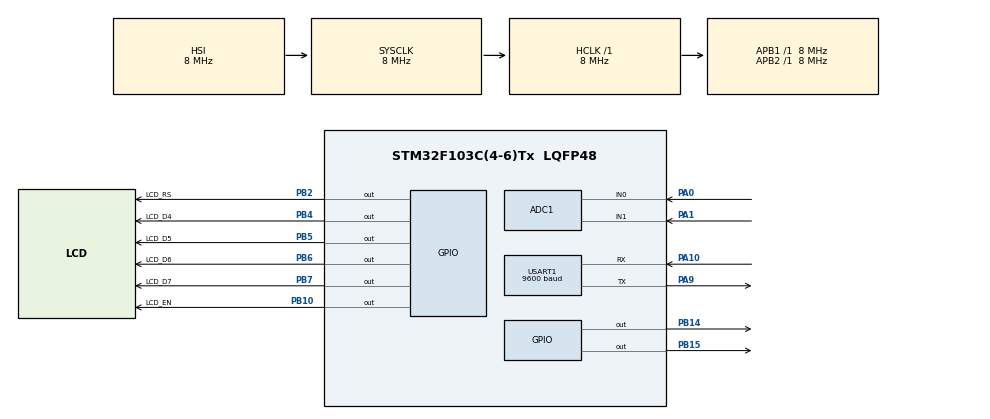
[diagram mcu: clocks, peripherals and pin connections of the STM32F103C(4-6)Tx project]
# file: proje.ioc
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ADC1.Channel-7\#ChannelRegularConversion=ADC_CHANNEL_0
ADC1.Channel-8\#ChannelRegularConversion=ADC_CHANNEL_1
ADC1.ContinuousConvMode=ENABLE
ADC1.NbrOfConversion=2
ADC1.NbrOfConversionFlag=1
ADC1.Rank-7\#ChannelRegularConversion=1
ADC1.Rank-8\#ChannelRegularConversion=2
ADC1.SamplingTime-7\#ChannelRegularConversion=ADC_SAMPLETIME_55CYCLES_5
ADC1.SamplingTime-8\#ChannelRegularConversion=ADC_SAMPLETIME_55CYCLES_5
ADC1.master=1
Dma.ADC1.0.Direction=DMA_PERIPH_TO_MEMORY
Dma.ADC1.0.Instance=DMA1_Channel1
Dma.ADC1.0.MemDataAlignment=DMA_MDATAALIGN_WORD
Dma.ADC1.0.MemInc=DMA_MINC_ENABLE
Dma.ADC1.0.Mode=DMA_CIRCULAR
Dma.ADC1.0.PeriphDataAlignment=DMA_PDATAALIGN_WORD
Dma.ADC1.0.PeriphInc=DMA_PINC_DISABLE
Dma.ADC1.0.Priority=DMA_PRIORITY_LOW
Dma.Request0=ADC1
Mcu.Family=STM32F1
Mcu.Name=STM32F103C(4-6)Tx
Mcu.Package=LQFP48
NVIC.DMA1_Channel1_IRQn=true\:0\:0\:false\:false\:true\:false\:true\:true
NVIC.PriorityGroup=NVIC_PRIORITYGROUP_4
NVIC.TIM2_IRQn=true\:0\:0\:false\:false\:true\:true\:true\:true
NVIC.USART1_IRQn=true\:0\:0\:true\:false\:true\:true\:true\:true
PA0-WKUP.Signal=ADCx_IN0
PA1.Signal=ADCx_IN1
PA10.Mode=Asynchronous
PA10.Signal=USART1_RX
PA9.Mode=Asynchronous
PA9.Signal=USART1_TX
PB10.GPIO_Label=LCD_EN
PB10.Signal=GPIO_Output
PB14.Signal=GPIO_Output
PB15.Signal=GPIO_Output
PB2.GPIO_Label=LCD_RS
PB2.Signal=GPIO_Output
PB4.GPIO_Label=LCD_D4
PB4.Signal=GPIO_Output
PB5.GPIO_Label=LCD_D5
PB5.Signal=GPIO_Output
PB6.GPIO_Label=LCD_D6
PB6.Signal=GPIO_Output
PB7.GPIO_Label=LCD_D7
PB7.Signal=GPIO_Output
PD0-OSC_IN.Mode=HSE-External-Oscillator
PD0-OSC_IN.Signal=RCC_OSC_IN
PD1-OSC_OUT.Mode=HSE-External-Oscillator
PD1-OSC_OUT.Signal=RCC_OSC_OUT
ProjectManager.HeapSize=0x200
ProjectManager.StackSize=0x400
ProjectManager.TargetToolchain=MDK-ARM V5.32
RCC.AHBFreq_Value=8000000
RCC.APB1Freq_Value=8000000
RCC.APB1TimCLKDivider=1
RCC.APB1TimFreq_Value=8000000
RCC.APB2Freq_Value=8000000
RCC.APB2TimFreq_Value=8000000
RCC.HCLKFreq_Value=8000000
RCC.SYSCLKFreq_VALUE=8000000
RCC.USBFreq_Value=8000000
SH.ADCx_IN0.0=ADC1_IN0,IN0
SH.ADCx_IN1.0=ADC1_IN1,IN1
TIM2.Period=49999
TIM2.Prescaler=15
USART1.BaudRate=9600
USART1.VirtualMode=VM_ASYNC
VP_SYS_VS_ND.Mode=No_Debug
VP_TIM2_VS_ClockSourceINT.Mode=Internal
board=custom

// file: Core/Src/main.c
/* USER CODE BEGIN Header */
/**
  ******************************************************************************
  * @file           : main.c
  * @brief          : Main program body
  ******************************************************************************
  * @attention
  *
  * Copyright (c) 2024 STMicroelectronics.
  * All rights reserved.
  *
  * This software is licensed under terms that can be found in the LICENSE file
  * in the root directory of this software component.
  * If no LICENSE file comes with this software, it is provided AS-IS.
  *
  ******************************************************************************
  */
/* USER CODE END Header */
#include "main.h"

/* USER CODE BEGIN Includes */
#include "stdio.h"
#include "stdlib.h"
#include "LCD.h"
/* USER CODE END Includes */

ADC_HandleTypeDef hadc1;
DMA_HandleTypeDef hdma_adc1;

TIM_HandleTypeDef htim2;

UART_HandleTypeDef huart1;

/* USER CODE BEGIN PV */

float soilHumidity = 50;
float waterLevel = 50;

uint32_t adcBuffer[2];

uint32_t adcWaterValue;
uint32_t adcMoistureValue;

uint8_t uartMessage[1] = "m";
char lcdString[32] = "";

uint16_t moisture_pin;

/* USER CODE END PV */

void SystemClock_Config(void);
static void MX_GPIO_Init(void);
static void MX_DMA_Init(void);
static void MX_USART1_UART_Init(void);
static void MX_ADC1_Init(void);
static void MX_TIM2_Init(void);

int main(void)
{

  /* MCU Configuration--------------------------------------------------------*/

  /* Reset of all peripherals, Initializes the Flash interface and the Systick. */
  HAL_Init();

  /* Configure the system clock */
  SystemClock_Config();

  /* Initialize all configured peripherals */
  MX_GPIO_Init();
  MX_DMA_Init();
  MX_USART1_UART_Init();
  MX_ADC1_Init();
  MX_TIM2_Init();
  /* USER CODE BEGIN 2 */

	lcd_init(_LCD_4BIT, _LCD_FONT_5x8, _LCD_2LINE);

	lcd_print(1, 1, " ...");
	HAL_Delay(1000);
	lcd_clear();

	HAL_TIM_Base_Start_IT(&htim2);
	HAL_UART_Init(&huart1);
	HAL_UART_Receive_IT(&huart1, uartMessage, sizeof(uartMessage));
	HAL_ADC_Start_DMA(&hadc1, adcBuffer, 2);

  /* USER CODE END 2 */

  /* Infinite loop */
  while (1)
  {

  }
}

void SystemClock_Config(void)
{
  RCC_OscInitTypeDef RCC_OscInitStruct = {0};
  RCC_ClkInitTypeDef RCC_ClkInitStruct = {0};
  RCC_PeriphCLKInitTypeDef PeriphClkInit = {0};

  /** Initializes the RCC Oscillators according to the specified parameters
  * in the RCC_OscInitTypeDef structure.
  */
  RCC_OscInitStruct.OscillatorType = RCC_OSCILLATORTYPE_HSI;
  RCC_OscInitStruct.HSIState = RCC_HSI_ON;
  RCC_OscInitStruct.HSICalibrationValue = RCC_HSICALIBRATION_DEFAULT;
  RCC_OscInitStruct.PLL.PLLState = RCC_PLL_NONE;
  if (HAL_RCC_OscConfig(&RCC_OscInitStruct) != HAL_OK)
  {
    Error_Handler();
  }

  /** Initializes the CPU, AHB and APB buses clocks
  */
  RCC_ClkInitStruct.ClockType = RCC_CLOCKTYPE_HCLK|RCC_CLOCKTYPE_SYSCLK
                              |RCC_CLOCKTYPE_PCLK1|RCC_CLOCKTYPE_PCLK2;
  RCC_ClkInitStruct.SYSCLKSource = RCC_SYSCLKSOURCE_HSI;
  RCC_ClkInitStruct.AHBCLKDivider = RCC_SYSCLK_DIV1;
  RCC_ClkInitStruct.APB1CLKDivider = RCC_HCLK_DIV1;
  RCC_ClkInitStruct.APB2CLKDivider = RCC_HCLK_DIV1;

  if (HAL_RCC_ClockConfig(&RCC_ClkInitStruct, FLASH_LATENCY_0) != HAL_OK)
  {
    Error_Handler();
  }
  PeriphClkInit.PeriphClockSelection = RCC_PERIPHCLK_ADC;
  PeriphClkInit.AdcClockSelection = RCC_ADCPCLK2_DIV2;
  if (HAL_RCCEx_PeriphCLKConfig(&PeriphClkInit) != HAL_OK)
  {
    Error_Handler();
  }
}

static void MX_ADC1_Init(void)
{

  ADC_ChannelConfTypeDef sConfig = {0};

  /** Common config
  */
  hadc1.Instance = ADC1;
  hadc1.Init.ScanConvMode = ADC_SCAN_ENABLE;
  hadc1.Init.ContinuousConvMode = ENABLE;
  hadc1.Init.DiscontinuousConvMode = DISABLE;
  hadc1.Init.ExternalTrigConv = ADC_SOFTWARE_START;
  hadc1.Init.DataAlign = ADC_DATAALIGN_RIGHT;
  hadc1.Init.NbrOfConversion = 2;
  if (HAL_ADC_Init(&hadc1) != HAL_OK)
  {
    Error_Handler();
  }

  /** Configure Regular Channel
  */
  sConfig.Channel = ADC_CHANNEL_0;
  sConfig.Rank = ADC_REGULAR_RANK_1;
  sConfig.SamplingTime = ADC_SAMPLETIME_55CYCLES_5;
  if (HAL_ADC_ConfigChannel(&hadc1, &sConfig) != HAL_OK)
  {
    Error_Handler();
  }

  /** Configure Regular Channel
  */
  sConfig.Channel = ADC_CHANNEL_1;
  sConfig.Rank = ADC_REGULAR_RANK_2;
  if (HAL_ADC_ConfigChannel(&hadc1, &sConfig) != HAL_OK)
  {
    Error_Handler();
  }

}

static void MX_TIM2_Init(void)
{

  TIM_ClockConfigTypeDef sClockSourceConfig = {0};
  TIM_MasterConfigTypeDef sMasterConfig = {0};

  htim2.Instance = TIM2;
  htim2.Init.Prescaler = 15;
  htim2.Init.CounterMode = TIM_COUNTERMODE_UP;
  htim2.Init.Period = 49999;
  htim2.Init.ClockDivision = TIM_CLOCKDIVISION_DIV1;
  htim2.Init.AutoReloadPreload = TIM_AUTORELOAD_PRELOAD_DISABLE;
  if (HAL_TIM_Base_Init(&htim2) != HAL_OK)
  {
    Error_Handler();
  }
  sClockSourceConfig.ClockSource = TIM_CLOCKSOURCE_INTERNAL;
  if (HAL_TIM_ConfigClockSource(&htim2, &sClockSourceConfig) != HAL_OK)
  {
    Error_Handler();
  }
  sMasterConfig.MasterOutputTrigger = TIM_TRGO_RESET;
  sMasterConfig.MasterSlaveMode = TIM_MASTERSLAVEMODE_DISABLE;
  if (HAL_TIMEx_MasterConfigSynchronization(&htim2, &sMasterConfig) != HAL_OK)
  {
    Error_Handler();
  }

}

static void MX_USART1_UART_Init(void)
{

  huart1.Instance = USART1;
  huart1.Init.BaudRate = 9600;
  huart1.Init.WordLength = UART_WORDLENGTH_8B;
  huart1.Init.StopBits = UART_STOPBITS_1;
  huart1.Init.Parity = UART_PARITY_NONE;
  huart1.Init.Mode = UART_MODE_TX_RX;
  huart1.Init.HwFlowCtl = UART_HWCONTROL_NONE;
  huart1.Init.OverSampling = UART_OVERSAMPLING_16;
  if (HAL_UART_Init(&huart1) != HAL_OK)
  {
    Error_Handler();
  }

}

static void MX_DMA_Init(void)
{

  /* DMA controller clock enable */
  __HAL_RCC_DMA1_CLK_ENABLE();

  /* DMA interrupt init */
  /* DMA1_Channel1_IRQn interrupt configuration */
  HAL_NVIC_SetPriority(DMA1_Channel1_IRQn, 0, 0);
  HAL_NVIC_EnableIRQ(DMA1_Channel1_IRQn);

}

static void MX_GPIO_Init(void)
{
  GPIO_InitTypeDef GPIO_InitStruct = {0};

  /* GPIO Ports Clock Enable */
  __HAL_RCC_GPIOD_CLK_ENABLE();
  __HAL_RCC_GPIOA_CLK_ENABLE();
  __HAL_RCC_GPIOB_CLK_ENABLE();

  /*Configure GPIO pin Output Level */
  HAL_GPIO_WritePin(GPIOB, LCD_RS_Pin|LCD_EN_Pin|GPIO_PIN_14|GPIO_PIN_15
                          |LCD_D4_Pin|LCD_D5_Pin|LCD_D6_Pin|LCD_D7_Pin, GPIO_PIN_RESET);

  /*Configure GPIO pins : LCD_RS_Pin LCD_EN_Pin PB14 PB15
                           LCD_D4_Pin LCD_D5_Pin LCD_D6_Pin LCD_D7_Pin */
  GPIO_InitStruct.Pin = LCD_RS_Pin|LCD_EN_Pin|GPIO_PIN_14|GPIO_PIN_15
                          |LCD_D4_Pin|LCD_D5_Pin|LCD_D6_Pin|LCD_D7_Pin;
  GPIO_InitStruct.Mode = GPIO_MODE_OUTPUT_PP;
  GPIO_InitStruct.Pull = GPIO_NOPULL;
  GPIO_InitStruct.Speed = GPIO_SPEED_FREQ_LOW;
  HAL_GPIO_Init(GPIOB, &GPIO_InitStruct);

}

/* USER CODE BEGIN 4 */

void lcd_empty() {
		lcd_print(1,1, "                       ");
		lcd_print(2,1, "                       ");

}

void printToTheLCD() {

		switch(uartMessage[0]) {
			case 'm': {
					lcd_empty();
					sprintf(lcdString, " %.2f", soilHumidity);//int i string yapiyor
					lcd_print(1,1, " Moisture(%) ");
					lcd_print(2, 1, lcdString);
					break;

			}

			case 'w': {
				lcd_empty();
				sprintf(lcdString, " %.2f", waterLevel);
				lcd_print(1,1, " Water Tank(%): ");
				lcd_print(2,1, lcdString);
				break;

			}

		}

}

void checkMoisture() {

			if (soilHumidity > 10 && soilHumidity < 50) {
			HAL_GPIO_WritePin(GPIOB, GPIO_PIN_14, GPIO_PIN_RESET);
			moisture_pin = GPIO_PIN_15;

			}

			else {
			HAL_GPIO_WritePin(GPIOB, GPIO_PIN_15, GPIO_PIN_RESET);
			moisture_pin = GPIO_PIN_14;

			}
}

void HAL_ADC_ConvCpltCallback(ADC_HandleTypeDef* hadc)
{

			if (hadc->Instance == ADC1) {

				adcMoistureValue = adcBuffer[0];
				adcWaterValue = adcBuffer[1];

				waterLevel = (100*((float)adcWaterValue/4096));
				soilHumidity = (100*((float)adcMoistureValue/4096));

			}

}

void HAL_UART_RxCpltCallback(UART_HandleTypeDef *huart)
{

		HAL_UART_Receive_IT(&huart1, uartMessage, sizeof(uartMessage));

		printToTheLCD();

}

void HAL_TIM_PeriodElapsedCallback(TIM_HandleTypeDef *htim)
{

		printToTheLCD();
		checkMoisture();

		HAL_GPIO_TogglePin(GPIOB, moisture_pin);

}

/* USER CODE END 4 */

void Error_Handler(void)
{
  __disable_irq();
  while (1)
  {
  }
}
